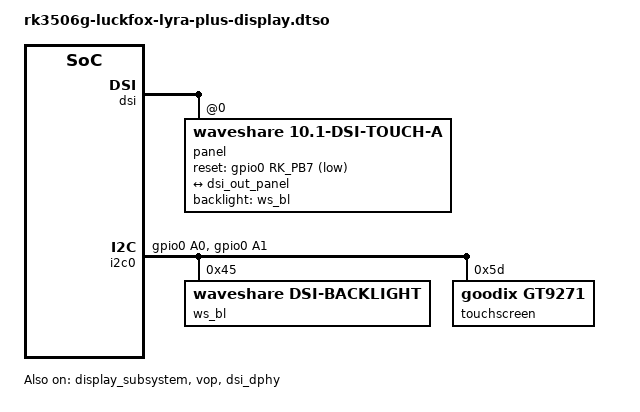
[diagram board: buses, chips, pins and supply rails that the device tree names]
// SPDX-License-Identifier: (GPL-2.0+ OR MIT)
/*
 * Luckfox Lyra Plus display overlay
 *
 * Waveshare 10.1" 800x1280 JD9365 MIPI-DSI panel, its I2C backlight/PWM
 * controller and the Goodix GT9271 touch controller mounted on the same
 * carrier board.
 *
 */

/dts-v1/;
/plugin/;

#include <dt-bindings/gpio/gpio.h>
#include <dt-bindings/pinctrl/rockchip.h>

&pinctrl {
	rm_io_display {
		/omit-if-no-ref/
		rm_io0_pins: rm-io0-pins {
			rockchip,pins =
				<0 RK_PA0 31 &pcfg_pull_none>;
		};

		/omit-if-no-ref/
		rm_io1_pins: rm-io1-pins {
			rockchip,pins =
				<0 RK_PA1 30 &pcfg_pull_none>;
		};
	};
};

&display_subsystem {
	status = "okay";
};

&vop {
	status = "okay";
};

&dsi {
	status = "okay";

	panel@0 {
		compatible = "waveshare,10.1-dsi-touch-a";
		reg = <0>;
		reset-gpios = <&gpio0 RK_PB7 GPIO_ACTIVE_LOW>;
		backlight = <&ws_bl>;

		port {
			panel_in_dsi: endpoint {
				remote-endpoint = <&dsi_out_panel>;
			};
		};
	};
};

&dsi_dphy {
	status = "okay";
};

&dsi_out {
	dsi_out_panel: endpoint {
		remote-endpoint = <&panel_in_dsi>;
		data-lanes = <1 2>;
	};
};

&i2c0 {
	pinctrl-names = "default";
	pinctrl-0 = <&rm_io0_pins &rm_io1_pins>;
	status = "okay";

	ws_bl: backlight@45 {
		compatible = "waveshare,dsi-backlight";
		reg = <0x45>;
		default-brightness-level = <200>;
	};

	touchscreen@5d {
		compatible = "goodix,gt9271";
		reg = <0x5d>;
		touchscreen-size-x = <800>;
		touchscreen-size-y = <1280>;
		touchscreen-inverted-y;
	};
};
